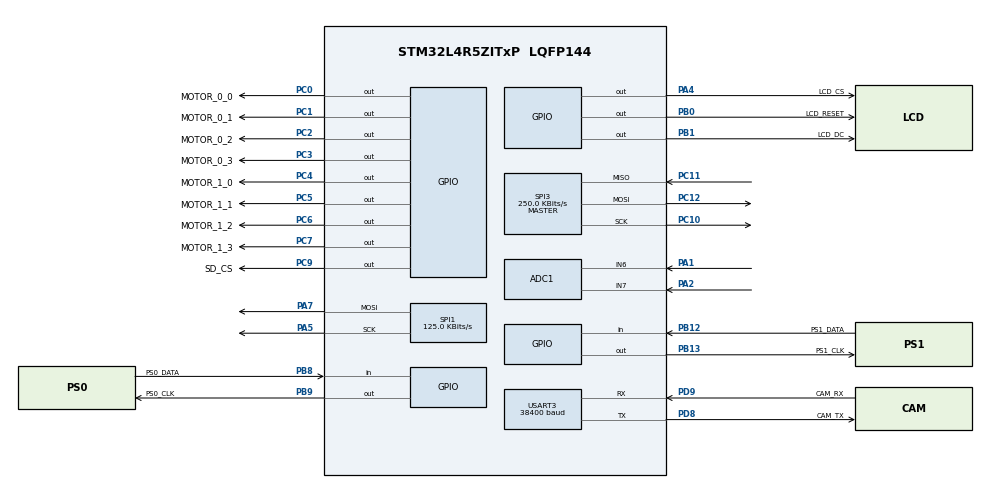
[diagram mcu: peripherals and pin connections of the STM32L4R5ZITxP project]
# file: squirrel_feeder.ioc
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ADC1.Channel-1\#ChannelRegularConversion=ADC_CHANNEL_7
ADC1.NbrOfConversionFlag=1
ADC1.OffsetNumber-1\#ChannelRegularConversion=ADC_OFFSET_NONE
ADC1.Rank-1\#ChannelRegularConversion=1
ADC1.SamplingTime-1\#ChannelRegularConversion=ADC_SAMPLETIME_2CYCLES_5
ADC1.master=1
Mcu.Family=STM32L4
Mcu.Name=STM32L4R5ZITxP
Mcu.Package=LQFP144
NVIC.PriorityGroup=NVIC_PRIORITYGROUP_4
PA0.Signal=S_TIM2_CH1
PA1.Signal=ADCx_IN6
PA10.Signal=USB_OTG_FS_ID
PA13\ (JTMS/SWDIO).Signal=SYS_JTMS-SWDIO
PA14\ (JTCK/SWCLK).Signal=SYS_JTCK-SWCLK
PA2.Signal=ADCx_IN7
PA4.GPIO_Label=LCD_CS
PA4.Signal=GPIO_Output
PA5.Mode=TX_Only_Simplex_Unidirect_Master
PA5.Signal=SPI1_SCK
PA6.Signal=SPI1_MISO
PA7.Mode=TX_Only_Simplex_Unidirect_Master
PA7.Signal=SPI1_MOSI
PA8.Signal=USB_OTG_FS_SOF
PA9.Signal=USB_OTG_FS_VBUS
PB0.GPIO_Label=LCD_RESET
PB0.Signal=GPIO_Output
PB1.GPIO_Label=LCD_DC
PB1.Signal=GPIO_Output
PB10.Signal=S_TIM2_CH3
PB12.GPIO_Label=PS1_DATA
PB12.Signal=GPIO_Input
PB13.GPIO_Label=PS1_CLK
PB13.Signal=GPIO_Output
PB14.Signal=S_TIM15_CH1
PB15.Signal=SAI2_SD_A
PB2.Signal=COMP1_INP
PB6.Signal=COMP2_INP
PB8.GPIO_Label=PS0_DATA
PB8.Signal=GPIO_Input
PB9.GPIO_Label=PS0_CLK
PB9.Signal=GPIO_Output
PC0.GPIO_Label=MOTOR_0_0
PC0.Signal=GPIO_Output
PC1.GPIO_Label=MOTOR_0_1
PC1.Signal=GPIO_Output
PC10.Mode=Full_Duplex_Master
PC10.Signal=SPI3_SCK
PC11.Mode=Full_Duplex_Master
PC11.Signal=SPI3_MISO
PC12.Mode=Full_Duplex_Master
PC12.Signal=SPI3_MOSI
PC13.Signal=SYS_WKUP2
PC14-OSC32_IN\ (PC14).Signal=RCC_OSC32_IN
PC15-OSC32_OUT\ (PC15).Signal=RCC_OSC32_OUT
PC2.GPIO_Label=MOTOR_0_2
PC2.Signal=GPIO_Output
PC3.GPIO_Label=MOTOR_0_3
PC3.Signal=GPIO_Output
PC4.GPIO_Label=MOTOR_1_0
PC4.Signal=GPIO_Output
PC5.GPIO_Label=MOTOR_1_1
PC5.Signal=GPIO_Output
PC6.GPIO_Label=MOTOR_1_2
PC6.Signal=GPIO_Output
PC7.GPIO_Label=MOTOR_1_3
PC7.Signal=GPIO_Output
PC8.Signal=SDMMC1_D0
PC9.GPIO_Label=SD_CS
PC9.Signal=GPIO_Output
PD0.Signal=CAN1_RX
PD14.Signal=S_TIM4_CH3
PD15.Signal=S_TIM4_CH4
PD2.Signal=SDMMC1_CMD
PD3.Signal=USART2_CTS
PD4.Signal=USART2_RTS
PD5.Signal=USART2_TX
PD6.Signal=USART2_RX
PD8.GPIO_Label=CAM_TX
PD8.Mode=Asynchronous
PD8.Signal=USART3_TX
PD9.GPIO_Label=CAM_RX
PD9.Mode=Asynchronous
PD9.Signal=USART3_RX
PE0.Signal=S_TIM4_ETR
PE10.Signal=TIM1_CH2N
PE11.Signal=S_TIM1_CH2
PE12.Signal=TIM1_CH3N
PE13.Signal=S_TIM1_CH3
PE14.Signal=TIM1_BKIN2
PE15.Signal=TIM1_BKIN
PE2.Signal=SAI1_MCLK_A
PE3.Signal=SAI1_SD_B
PE7.Signal=S_TIM1_ETR
PE8.Signal=TIM1_CH1N
PE9.Signal=S_TIM1_CH1
PF0.Signal=I2C2_SDA
PF1.Signal=I2C2_SCL
PF2.Signal=I2C2_SMBA
PF7.Signal=SAI1_MCLK_B
PG7.Signal=LPUART1_TX
PG8.Signal=LPUART1_RX
PH0-OSC_IN\ (PH0).Signal=RCC_OSC_IN
PH1-OSC_OUT\ (PH1).Signal=RCC_OSC_OUT
ProjectManager.HeapSize=0x200
ProjectManager.StackSize=0x400
ProjectManager.TargetToolchain=STM32CubeIDE
RCC.ADCFreq_Value=32000000
RCC.HSE_VALUE=8000000
RCC.HSI48_VALUE=48000000
RCC.HSI_VALUE=16000000
RCC.LSE_VALUE=32768
RCC.MSI_VALUE=4000000
RCC.PLLSAI1N=16
RCC.USBFreq_Value=32000000
RCC.VCOOutputFreq_Value=32000000
SH.ADCx_IN6.0=ADC1_IN6,IN6-Single-Ended
SH.ADCx_IN7.0=ADC1_IN7,IN7-Single-Ended
SH.S_TIM15_CH1.0=TIM15_CH1
SH.S_TIM1_CH1.0=TIM1_CH1
SH.S_TIM1_CH2.0=TIM1_CH2
SH.S_TIM1_CH3.0=TIM1_CH3
SH.S_TIM1_ETR.0=TIM1_ETR
SH.S_TIM2_CH1.0=TIM2_CH1
SH.S_TIM2_CH3.0=TIM2_CH3
SH.S_TIM4_CH3.0=TIM4_CH3
SH.S_TIM4_CH4.0=TIM4_CH4
SH.S_TIM4_ETR.0=TIM4_ETR
SPI1.BaudRatePrescaler=SPI_BAUDRATEPRESCALER_32
SPI1.CalculateBaudRate=125.0 KBits/s
SPI1.DataSize=SPI_DATASIZE_8BIT
SPI1.Direction=SPI_DIRECTION_2LINES
SPI1.Mode=SPI_MODE_MASTER
SPI1.VirtualType=VM_MASTER
SPI3.BaudRatePrescaler=SPI_BAUDRATEPRESCALER_16
SPI3.CalculateBaudRate=250.0 KBits/s
SPI3.DataSize=SPI_DATASIZE_8BIT
SPI3.Direction=SPI_DIRECTION_2LINES
SPI3.Mode=SPI_MODE_MASTER
SPI3.VirtualType=VM_MASTER
USART3.BaudRate=38400
USART3.VirtualMode-Asynchronous=VM_ASYNC
VP_FATFS_VS_Generic.Mode=User_defined
board=NUCLEO-L4R5ZI-P

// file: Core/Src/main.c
/* USER CODE BEGIN Header */
/**
  ******************************************************************************
  * @file           : main.c
  * @brief          : Main program body
  ******************************************************************************
  * @attention
  *
  * Copyright (c) 2024 STMicroelectronics.
  * All rights reserved.
  *
  * This software is licensed under terms that can be found in the LICENSE file
  * in the root directory of this software component.
  * If no LICENSE file comes with this software, it is provided AS-IS.
  *
  ******************************************************************************
  */
/* USER CODE END Header */
#include "camera_handler.h"
#include "main.h"
#include "fatfs.h"

/* USER CODE BEGIN Includes */
//#include "camera_handler.h"

/* USER CODE END Includes */

ADC_HandleTypeDef hadc1;

SPI_HandleTypeDef hspi1;
SPI_HandleTypeDef hspi3;

UART_HandleTypeDef huart3;

void SystemClock_Config(void);
static void MX_GPIO_Init(void);
static void MX_SPI1_Init(void);
static void MX_SPI3_Init(void);
static void MX_USART3_UART_Init(void);
static void MX_ADC1_Init(void);
/* USER CODE BEGIN PFP */
static void FS_Init(void);
static void FS_Cleanup(void);

//extern void CAMERA_Init(void);
//extern uint8_t CAMERA_Take_Photo(void);
//extern uint8_t CAMERA_Process(void);
/* USER CODE END PFP */

int main(void)
{

  /* MCU Configuration--------------------------------------------------------*/

  /* Reset of all peripherals, Initializes the Flash interface and the Systick. */
  HAL_Init();

  /* Configure the system clock */
  SystemClock_Config();

  /* Initialize all configured peripherals */
  MX_GPIO_Init();
  MX_SPI1_Init();
  MX_SPI3_Init();
  MX_USART3_UART_Init();
  MX_FATFS_Init();
  MX_ADC1_Init();
  /* USER CODE BEGIN 2 */
  // required camera startup delay
  HAL_Delay(2500);

  FS_Init();
  CAMERA_Init();

  FIL fil;
  FRESULT fres;

  char fname[10] = "test.txt";
  fres = f_open(&fil, fname, FA_WRITE | FA_OPEN_ALWAYS | FA_CREATE_ALWAYS);

  CAMERA_Take_Photo();

  /* USER CODE END 2 */

  /* Infinite loop */
  /* USER CODE BEGIN WHILE */
  while (!CAMERA_Process())
  {
    /* USER CODE END WHILE */

    /* USER CODE BEGIN 3 */
  }

  FS_Cleanup();

  /* USER CODE END 3 */
}

void SystemClock_Config(void)
{
  RCC_OscInitTypeDef RCC_OscInitStruct = {0};
  RCC_ClkInitTypeDef RCC_ClkInitStruct = {0};

  /** Configure the main internal regulator output voltage
  */
  if (HAL_PWREx_ControlVoltageScaling(PWR_REGULATOR_VOLTAGE_SCALE1) != HAL_OK)
  {
    Error_Handler();
  }

  /** Initializes the RCC Oscillators according to the specified parameters
  * in the RCC_OscInitTypeDef structure.
  */
  RCC_OscInitStruct.OscillatorType = RCC_OSCILLATORTYPE_MSI;
  RCC_OscInitStruct.MSIState = RCC_MSI_ON;
  RCC_OscInitStruct.MSICalibrationValue = 0;
  RCC_OscInitStruct.MSIClockRange = RCC_MSIRANGE_6;
  RCC_OscInitStruct.PLL.PLLState = RCC_PLL_NONE;
  if (HAL_RCC_OscConfig(&RCC_OscInitStruct) != HAL_OK)
  {
    Error_Handler();
  }

  /** Initializes the CPU, AHB and APB buses clocks
  */
  RCC_ClkInitStruct.ClockType = RCC_CLOCKTYPE_HCLK|RCC_CLOCKTYPE_SYSCLK
                              |RCC_CLOCKTYPE_PCLK1|RCC_CLOCKTYPE_PCLK2;
  RCC_ClkInitStruct.SYSCLKSource = RCC_SYSCLKSOURCE_MSI;
  RCC_ClkInitStruct.AHBCLKDivider = RCC_SYSCLK_DIV1;
  RCC_ClkInitStruct.APB1CLKDivider = RCC_HCLK_DIV1;
  RCC_ClkInitStruct.APB2CLKDivider = RCC_HCLK_DIV1;

  if (HAL_RCC_ClockConfig(&RCC_ClkInitStruct, FLASH_LATENCY_0) != HAL_OK)
  {
    Error_Handler();
  }
}

static void MX_ADC1_Init(void)
{

  ADC_ChannelConfTypeDef sConfig = {0};

  /** Common config
  */
  hadc1.Instance = ADC1;
  hadc1.Init.ClockPrescaler = ADC_CLOCK_ASYNC_DIV1;
  hadc1.Init.Resolution = ADC_RESOLUTION_12B;
  hadc1.Init.DataAlign = ADC_DATAALIGN_RIGHT;
  hadc1.Init.ScanConvMode = ADC_SCAN_DISABLE;
  hadc1.Init.EOCSelection = ADC_EOC_SINGLE_CONV;
  hadc1.Init.LowPowerAutoWait = DISABLE;
  hadc1.Init.ContinuousConvMode = DISABLE;
  hadc1.Init.NbrOfConversion = 1;
  hadc1.Init.DiscontinuousConvMode = DISABLE;
  hadc1.Init.ExternalTrigConv = ADC_SOFTWARE_START;
  hadc1.Init.ExternalTrigConvEdge = ADC_EXTERNALTRIGCONVEDGE_NONE;
  hadc1.Init.DMAContinuousRequests = DISABLE;
  hadc1.Init.Overrun = ADC_OVR_DATA_PRESERVED;
  hadc1.Init.OversamplingMode = DISABLE;
  if (HAL_ADC_Init(&hadc1) != HAL_OK)
  {
    Error_Handler();
  }

  /** Configure Regular Channel
  */
  sConfig.Channel = ADC_CHANNEL_7;
  sConfig.Rank = ADC_REGULAR_RANK_1;
  sConfig.SamplingTime = ADC_SAMPLETIME_2CYCLES_5;
  sConfig.SingleDiff = ADC_SINGLE_ENDED;
  sConfig.OffsetNumber = ADC_OFFSET_NONE;
  sConfig.Offset = 0;
  if (HAL_ADC_ConfigChannel(&hadc1, &sConfig) != HAL_OK)
  {
    Error_Handler();
  }

}

static void MX_SPI1_Init(void)
{

  /* SPI1 parameter configuration*/
  hspi1.Instance = SPI1;
  hspi1.Init.Mode = SPI_MODE_MASTER;
  hspi1.Init.Direction = SPI_DIRECTION_2LINES;
  hspi1.Init.DataSize = SPI_DATASIZE_8BIT;
  hspi1.Init.CLKPolarity = SPI_POLARITY_LOW;
  hspi1.Init.CLKPhase = SPI_PHASE_1EDGE;
  hspi1.Init.NSS = SPI_NSS_SOFT;
  hspi1.Init.BaudRatePrescaler = SPI_BAUDRATEPRESCALER_32;
  hspi1.Init.FirstBit = SPI_FIRSTBIT_MSB;
  hspi1.Init.TIMode = SPI_TIMODE_DISABLE;
  hspi1.Init.CRCCalculation = SPI_CRCCALCULATION_DISABLE;
  hspi1.Init.CRCPolynomial = 7;
  hspi1.Init.CRCLength = SPI_CRC_LENGTH_DATASIZE;
  hspi1.Init.NSSPMode = SPI_NSS_PULSE_ENABLE;
  if (HAL_SPI_Init(&hspi1) != HAL_OK)
  {
    Error_Handler();
  }

}

static void MX_SPI3_Init(void)
{

  /* SPI3 parameter configuration*/
  hspi3.Instance = SPI3;
  hspi3.Init.Mode = SPI_MODE_MASTER;
  hspi3.Init.Direction = SPI_DIRECTION_2LINES;
  hspi3.Init.DataSize = SPI_DATASIZE_8BIT;
  hspi3.Init.CLKPolarity = SPI_POLARITY_LOW;
  hspi3.Init.CLKPhase = SPI_PHASE_1EDGE;
  hspi3.Init.NSS = SPI_NSS_SOFT;
  hspi3.Init.BaudRatePrescaler = SPI_BAUDRATEPRESCALER_16;
  hspi3.Init.FirstBit = SPI_FIRSTBIT_MSB;
  hspi3.Init.TIMode = SPI_TIMODE_DISABLE;
  hspi3.Init.CRCCalculation = SPI_CRCCALCULATION_DISABLE;
  hspi3.Init.CRCPolynomial = 7;
  hspi3.Init.CRCLength = SPI_CRC_LENGTH_DATASIZE;
  hspi3.Init.NSSPMode = SPI_NSS_PULSE_ENABLE;
  if (HAL_SPI_Init(&hspi3) != HAL_OK)
  {
    Error_Handler();
  }

}

static void MX_USART3_UART_Init(void)
{

  huart3.Instance = USART3;
  huart3.Init.BaudRate = 38400;
  huart3.Init.WordLength = UART_WORDLENGTH_8B;
  huart3.Init.StopBits = UART_STOPBITS_1;
  huart3.Init.Parity = UART_PARITY_NONE;
  huart3.Init.Mode = UART_MODE_TX_RX;
  huart3.Init.HwFlowCtl = UART_HWCONTROL_NONE;
  huart3.Init.OverSampling = UART_OVERSAMPLING_16;
  huart3.Init.OneBitSampling = UART_ONE_BIT_SAMPLE_DISABLE;
  huart3.Init.ClockPrescaler = UART_PRESCALER_DIV1;
  huart3.AdvancedInit.AdvFeatureInit = UART_ADVFEATURE_NO_INIT;
  if (HAL_UART_Init(&huart3) != HAL_OK)
  {
    Error_Handler();
  }
  if (HAL_UARTEx_SetTxFifoThreshold(&huart3, UART_TXFIFO_THRESHOLD_1_8) != HAL_OK)
  {
    Error_Handler();
  }
  if (HAL_UARTEx_SetRxFifoThreshold(&huart3, UART_RXFIFO_THRESHOLD_1_8) != HAL_OK)
  {
    Error_Handler();
  }
  if (HAL_UARTEx_DisableFifoMode(&huart3) != HAL_OK)
  {
    Error_Handler();
  }

}

static void MX_GPIO_Init(void)
{
  GPIO_InitTypeDef GPIO_InitStruct = {0};

  /* GPIO Ports Clock Enable */
  __HAL_RCC_GPIOE_CLK_ENABLE();
  __HAL_RCC_GPIOC_CLK_ENABLE();
  __HAL_RCC_GPIOF_CLK_ENABLE();
  __HAL_RCC_GPIOH_CLK_ENABLE();
  __HAL_RCC_GPIOA_CLK_ENABLE();
  __HAL_RCC_GPIOB_CLK_ENABLE();
  __HAL_RCC_GPIOD_CLK_ENABLE();
  __HAL_RCC_GPIOG_CLK_ENABLE();
  HAL_PWREx_EnableVddIO2();

  /*Configure GPIO pin Output Level */
  HAL_GPIO_WritePin(GPIOC, MOTOR_0_0_Pin|MOTOR_0_1_Pin|MOTOR_0_2_Pin|MOTOR_0_3_Pin
                          |MOTOR_1_0_Pin|MOTOR_1_1_Pin|MOTOR_1_2_Pin|MOTOR_1_3_Pin
                          |SD_CS_Pin, GPIO_PIN_RESET);

  /*Configure GPIO pin Output Level */
  HAL_GPIO_WritePin(LCD_CS_GPIO_Port, LCD_CS_Pin, GPIO_PIN_RESET);

  /*Configure GPIO pin Output Level */
  HAL_GPIO_WritePin(GPIOB, LCD_RESET_Pin|LCD_DC_Pin|PS1_CLK_Pin|PS0_CLK_Pin, GPIO_PIN_RESET);

  /*Configure GPIO pins : PE2 PE3 */
  GPIO_InitStruct.Pin = GPIO_PIN_2|GPIO_PIN_3;
  GPIO_InitStruct.Mode = GPIO_MODE_AF_PP;
  GPIO_InitStruct.Pull = GPIO_NOPULL;
  GPIO_InitStruct.Speed = GPIO_SPEED_FREQ_LOW;
  GPIO_InitStruct.Alternate = GPIO_AF13_SAI1;
  HAL_GPIO_Init(GPIOE, &GPIO_InitStruct);

  /*Configure GPIO pins : PF0 PF1 PF2 */
  GPIO_InitStruct.Pin = GPIO_PIN_0|GPIO_PIN_1|GPIO_PIN_2;
  GPIO_InitStruct.Mode = GPIO_MODE_AF_OD;
  GPIO_InitStruct.Pull = GPIO_NOPULL;
  GPIO_InitStruct.Speed = GPIO_SPEED_FREQ_VERY_HIGH;
  GPIO_InitStruct.Alternate = GPIO_AF4_I2C2;
  HAL_GPIO_Init(GPIOF, &GPIO_InitStruct);

  /*Configure GPIO pin : PF7 */
  GPIO_InitStruct.Pin = GPIO_PIN_7;
  GPIO_InitStruct.Mode = GPIO_MODE_AF_PP;
  GPIO_InitStruct.Pull = GPIO_NOPULL;
  GPIO_InitStruct.Speed = GPIO_SPEED_FREQ_LOW;
  GPIO_InitStruct.Alternate = GPIO_AF13_SAI1;
  HAL_GPIO_Init(GPIOF, &GPIO_InitStruct);

  /*Configure GPIO pins : MOTOR_0_0_Pin MOTOR_0_1_Pin MOTOR_0_2_Pin MOTOR_0_3_Pin
                           MOTOR_1_0_Pin MOTOR_1_1_Pin MOTOR_1_2_Pin MOTOR_1_3_Pin
                           SD_CS_Pin */
  GPIO_InitStruct.Pin = MOTOR_0_0_Pin|MOTOR_0_1_Pin|MOTOR_0_2_Pin|MOTOR_0_3_Pin
                          |MOTOR_1_0_Pin|MOTOR_1_1_Pin|MOTOR_1_2_Pin|MOTOR_1_3_Pin
                          |SD_CS_Pin;
  GPIO_InitStruct.Mode = GPIO_MODE_OUTPUT_PP;
  GPIO_InitStruct.Pull = GPIO_NOPULL;
  GPIO_InitStruct.Speed = GPIO_SPEED_FREQ_LOW;
  HAL_GPIO_Init(GPIOC, &GPIO_InitStruct);

  /*Configure GPIO pin : PA0 */
  GPIO_InitStruct.Pin = GPIO_PIN_0;
  GPIO_InitStruct.Mode = GPIO_MODE_AF_PP;
  GPIO_InitStruct.Pull = GPIO_NOPULL;
  GPIO_InitStruct.Speed = GPIO_SPEED_FREQ_LOW;
  GPIO_InitStruct.Alternate = GPIO_AF1_TIM2;
  HAL_GPIO_Init(GPIOA, &GPIO_InitStruct);

  /*Configure GPIO pin : LCD_CS_Pin */
  GPIO_InitStruct.Pin = LCD_CS_Pin;
  GPIO_InitStruct.Mode = GPIO_MODE_OUTPUT_PP;
  GPIO_InitStruct.Pull = GPIO_NOPULL;
  GPIO_InitStruct.Speed = GPIO_SPEED_FREQ_LOW;
  HAL_GPIO_Init(LCD_CS_GPIO_Port, &GPIO_InitStruct);

  /*Configure GPIO pins : LCD_RESET_Pin LCD_DC_Pin PS1_CLK_Pin PS0_CLK_Pin */
  GPIO_InitStruct.Pin = LCD_RESET_Pin|LCD_DC_Pin|PS1_CLK_Pin|PS0_CLK_Pin;
  GPIO_InitStruct.Mode = GPIO_MODE_OUTPUT_PP;
  GPIO_InitStruct.Pull = GPIO_NOPULL;
  GPIO_InitStruct.Speed = GPIO_SPEED_FREQ_LOW;
  HAL_GPIO_Init(GPIOB, &GPIO_InitStruct);

  /*Configure GPIO pins : PB2 PB6 */
  GPIO_InitStruct.Pin = GPIO_PIN_2|GPIO_PIN_6;
  GPIO_InitStruct.Mode = GPIO_MODE_ANALOG;
  GPIO_InitStruct.Pull = GPIO_NOPULL;
  HAL_GPIO_Init(GPIOB, &GPIO_InitStruct);

  /*Configure GPIO pins : PE7 PE8 PE9 PE10
                           PE11 PE12 PE13 */
  GPIO_InitStruct.Pin = GPIO_PIN_7|GPIO_PIN_8|GPIO_PIN_9|GPIO_PIN_10
                          |GPIO_PIN_11|GPIO_PIN_12|GPIO_PIN_13;
  GPIO_InitStruct.Mode = GPIO_MODE_AF_PP;
  GPIO_InitStruct.Pull = GPIO_NOPULL;
  GPIO_InitStruct.Speed = GPIO_SPEED_FREQ_LOW;
  GPIO_InitStruct.Alternate = GPIO_AF1_TIM1;
  HAL_GPIO_Init(GPIOE, &GPIO_InitStruct);

  /*Configure GPIO pins : PE14 PE15 */
  GPIO_InitStruct.Pin = GPIO_PIN_14|GPIO_PIN_15;
  GPIO_InitStruct.Mode = GPIO_MODE_AF_PP;
  GPIO_InitStruct.Pull = GPIO_NOPULL;
  GPIO_InitStruct.Speed = GPIO_SPEED_FREQ_LOW;
  GPIO_InitStruct.Alternate = GPIO_AF3_TIM1_COMP1;
  HAL_GPIO_Init(GPIOE, &GPIO_InitStruct);

  /*Configure GPIO pin : PB10 */
  GPIO_InitStruct.Pin = GPIO_PIN_10;
  GPIO_InitStruct.Mode = GPIO_MODE_AF_PP;
  GPIO_InitStruct.Pull = GPIO_NOPULL;
  GPIO_InitStruct.Speed = GPIO_SPEED_FREQ_LOW;
  GPIO_InitStruct.Alternate = GPIO_AF1_TIM2;
  HAL_GPIO_Init(GPIOB, &GPIO_InitStruct);

  /*Configure GPIO pins : PS1_DATA_Pin PS0_DATA_Pin */
  GPIO_InitStruct.Pin = PS1_DATA_Pin|PS0_DATA_Pin;
  GPIO_InitStruct.Mode = GPIO_MODE_INPUT;
  GPIO_InitStruct.Pull = GPIO_NOPULL;
  HAL_GPIO_Init(GPIOB, &GPIO_InitStruct);

  /*Configure GPIO pin : PB14 */
  GPIO_InitStruct.Pin = GPIO_PIN_14;
  GPIO_InitStruct.Mode = GPIO_MODE_AF_PP;
  GPIO_InitStruct.Pull = GPIO_NOPULL;
  GPIO_InitStruct.Speed = GPIO_SPEED_FREQ_LOW;
  GPIO_InitStruct.Alternate = GPIO_AF14_TIM15;
  HAL_GPIO_Init(GPIOB, &GPIO_InitStruct);

  /*Configure GPIO pin : PB15 */
  GPIO_InitStruct.Pin = GPIO_PIN_15;
  GPIO_InitStruct.Mode = GPIO_MODE_AF_PP;
  GPIO_InitStruct.Pull = GPIO_NOPULL;
  GPIO_InitStruct.Speed = GPIO_SPEED_FREQ_LOW;
  GPIO_InitStruct.Alternate = GPIO_AF13_SAI2;
  HAL_GPIO_Init(GPIOB, &GPIO_InitStruct);

  /*Configure GPIO pins : PD14 PD15 */
  GPIO_InitStruct.Pin = GPIO_PIN_14|GPIO_PIN_15;
  GPIO_InitStruct.Mode = GPIO_MODE_AF_PP;
  GPIO_InitStruct.Pull = GPIO_NOPULL;
  GPIO_InitStruct.Speed = GPIO_SPEED_FREQ_LOW;
  GPIO_InitStruct.Alternate = GPIO_AF2_TIM4;
  HAL_GPIO_Init(GPIOD, &GPIO_InitStruct);

  /*Configure GPIO pins : PG7 PG8 */
  GPIO_InitStruct.Pin = GPIO_PIN_7|GPIO_PIN_8;
  GPIO_InitStruct.Mode = GPIO_MODE_AF_PP;
  GPIO_InitStruct.Pull = GPIO_NOPULL;
  GPIO_InitStruct.Speed = GPIO_SPEED_FREQ_VERY_HIGH;
  GPIO_InitStruct.Alternate = GPIO_AF8_LPUART1;
  HAL_GPIO_Init(GPIOG, &GPIO_InitStruct);

  /*Configure GPIO pin : PC8 */
  GPIO_InitStruct.Pin = GPIO_PIN_8;
  GPIO_InitStruct.Mode = GPIO_MODE_AF_PP;
  GPIO_InitStruct.Pull = GPIO_NOPULL;
  GPIO_InitStruct.Speed = GPIO_SPEED_FREQ_VERY_HIGH;
  GPIO_InitStruct.Alternate = GPIO_AF12_SDMMC1;
  HAL_GPIO_Init(GPIOC, &GPIO_InitStruct);

  /*Configure GPIO pins : PA8 PA10 */
  GPIO_InitStruct.Pin = GPIO_PIN_8|GPIO_PIN_10;
  GPIO_InitStruct.Mode = GPIO_MODE_AF_PP;
  GPIO_InitStruct.Pull = GPIO_NOPULL;
  GPIO_InitStruct.Speed = GPIO_SPEED_FREQ_VERY_HIGH;
  GPIO_InitStruct.Alternate = GPIO_AF10_OTG_FS;
  HAL_GPIO_Init(GPIOA, &GPIO_InitStruct);

  /*Configure GPIO pin : PA9 */
  GPIO_InitStruct.Pin = GPIO_PIN_9;
  GPIO_InitStruct.Mode = GPIO_MODE_INPUT;
  GPIO_InitStruct.Pull = GPIO_NOPULL;
  HAL_GPIO_Init(GPIOA, &GPIO_InitStruct);

  /*Configure GPIO pin : PD0 */
  GPIO_InitStruct.Pin = GPIO_PIN_0;
  GPIO_InitStruct.Mode = GPIO_MODE_AF_PP;
  GPIO_InitStruct.Pull = GPIO_NOPULL;
  GPIO_InitStruct.Speed = GPIO_SPEED_FREQ_VERY_HIGH;
  GPIO_InitStruct.Alternate = GPIO_AF9_CAN1;
  HAL_GPIO_Init(GPIOD, &GPIO_InitStruct);

  /*Configure GPIO pin : PD2 */
  GPIO_InitStruct.Pin = GPIO_PIN_2;
  GPIO_InitStruct.Mode = GPIO_MODE_AF_PP;
  GPIO_InitStruct.Pull = GPIO_NOPULL;
  GPIO_InitStruct.Speed = GPIO_SPEED_FREQ_VERY_HIGH;
  GPIO_InitStruct.Alternate = GPIO_AF12_SDMMC1;
  HAL_GPIO_Init(GPIOD, &GPIO_InitStruct);

  /*Configure GPIO pins : PD3 PD4 PD5 PD6 */
  GPIO_InitStruct.Pin = GPIO_PIN_3|GPIO_PIN_4|GPIO_PIN_5|GPIO_PIN_6;
  GPIO_InitStruct.Mode = GPIO_MODE_AF_PP;
  GPIO_InitStruct.Pull = GPIO_NOPULL;
  GPIO_InitStruct.Speed = GPIO_SPEED_FREQ_VERY_HIGH;
  GPIO_InitStruct.Alternate = GPIO_AF7_USART2;
  HAL_GPIO_Init(GPIOD, &GPIO_InitStruct);

  /*Configure GPIO pin : PE0 */
  GPIO_InitStruct.Pin = GPIO_PIN_0;
  GPIO_InitStruct.Mode = GPIO_MODE_AF_PP;
  GPIO_InitStruct.Pull = GPIO_NOPULL;
  GPIO_InitStruct.Speed = GPIO_SPEED_FREQ_LOW;
  GPIO_InitStruct.Alternate = GPIO_AF2_TIM4;
  HAL_GPIO_Init(GPIOE, &GPIO_InitStruct);

}

/* USER CODE BEGIN 4 */

/*
 * mounts the sd card -- if its not found, it blocks forever
 */
static void FS_Init(void) {
	FATFS FatFs; 	//Fatfs handle
	FRESULT fres; 	//Result after operations
	fres = f_mount(&FatFs, "", 1); //1=mount now
	if (fres != FR_OK) {
		while(1);
	}
}

/*
 * Unmounts the sd card
 */
static void FS_Cleanup(void) {
	f_mount(NULL, "", 0);
}

/* USER CODE END 4 */

void Error_Handler(void)
{
  __disable_irq();
  while (1)
  {
  }
}
